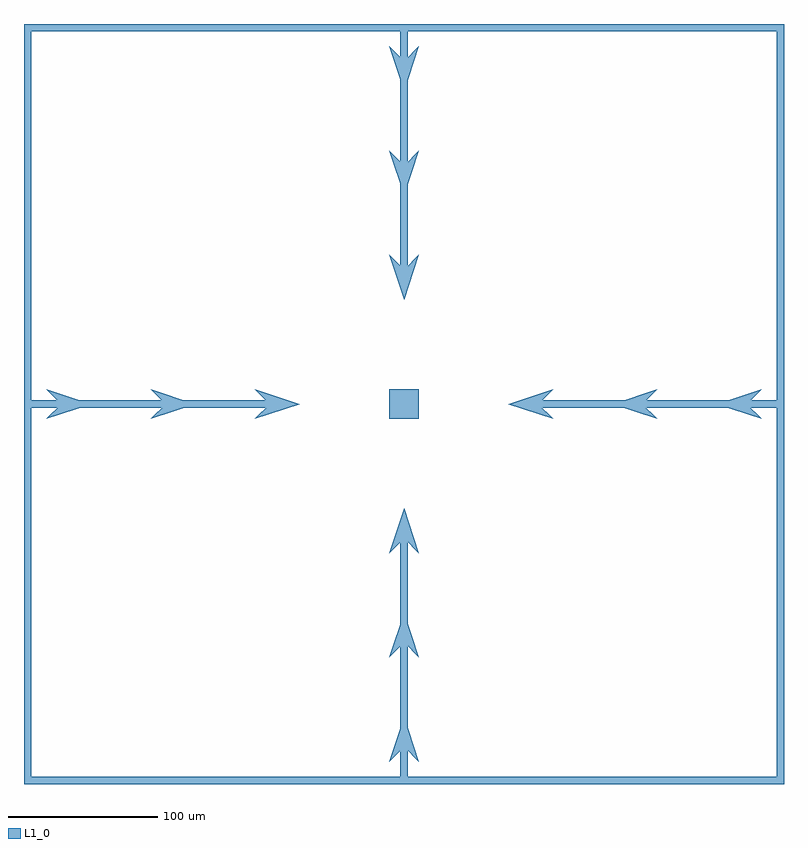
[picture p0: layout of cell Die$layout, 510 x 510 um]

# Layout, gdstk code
from math import pi, radians
import gdstk
lib = gdstk.Library(unit=1e-6, precision=1e-09)
def R(c, l, rs):  # rectangles x0, y0, x1, y1
    for r in rs: c.add(gdstk.rectangle(r[:2], r[2:], *l))
def P(c, l, *ps):  # polygons
    for p in ps: c.add(gdstk.Polygon(p, *l))
L1_0 = (1, 0)

connect = lib.new_cell('Connect')

cap_layout = lib.new_cell('Cap$layout')

die_layout = lib.new_cell('Die$layout')
R(die_layout, L1_0, [(2497.5,2250,2502.5,2420), (2490,2490,2510,2510), (2250,2497.5,2420,2502.5), (2580,2497.5,2750,2502.5), (2497.5,2580,2502.5,2750)])
P(die_layout, L1_0, [(2400,2490),(2410,2500),(2400,2510),(2430,2500)],
  [(2330,2490),(2340,2500),(2330,2510),(2360,2500)],
  [(2500,2570),(2490,2600),(2500,2590),(2510,2600)],
  [(2500,2640),(2490,2670),(2500,2660),(2510,2670)],
  [(2600,2490),(2570,2500),(2600,2510),(2590,2500)],
  [(2670,2490),(2640,2500),(2670,2510),(2660,2500)],
  [(2490,2400),(2500,2430),(2510,2400),(2500,2410)],
  [(2490,2330),(2500,2360),(2510,2330),(2500,2340)],
  [(2260,2490),(2270,2500),(2260,2510),(2290,2500)],
  [(2500,2710),(2490,2740),(2500,2730),(2510,2740)],
  [(2490,2260),(2500,2290),(2510,2260),(2500,2270)],
  [(2740,2490),(2710,2500),(2740,2510),(2730,2500)],
  [(2245,2245),(2245,2750),(2250,2750),(2250,2250),(2750,2250),(2750,2750),(2245,2750),(2245,2755),(2755,2755),(2755,2245)])
die_layout.add(gdstk.Reference(connect, (-1450,1450)))
die_layout.add(gdstk.Reference(connect, (1450,1450), rotation=pi, x_reflection=True))
die_layout.add(gdstk.Reference(connect, (-1450,-1450), x_reflection=True))
die_layout.add(gdstk.Reference(connect, (1450,-1450), rotation=pi))
die_layout.add(gdstk.Reference(cap_layout, (-600,600)))
die_layout.add(gdstk.Reference(cap_layout, (0,600)))
die_layout.add(gdstk.Reference(cap_layout, (600,600)))
die_layout.add(gdstk.Reference(cap_layout, (600,0)))
die_layout.add(gdstk.Reference(cap_layout, (600,-600)))
die_layout.add(gdstk.Reference(cap_layout, (0,-600)))
die_layout.add(gdstk.Reference(cap_layout, (-600,-600)))
die_layout.add(gdstk.Reference(cap_layout, (-600,0)))
die_layout.add(gdstk.Reference(cap_layout, (0,0)))
die_layout.add(gdstk.Reference(cap_layout, (-1400,0)))
die_layout.add(gdstk.Reference(cap_layout, (1400,0)))
die_layout.add(gdstk.Reference(cap_layout, (-1400,0), rotation=pi, x_reflection=True))
die_layout.add(gdstk.Reference(cap_layout, (1400,0), rotation=pi, x_reflection=True))
die_layout.add(gdstk.Reference(cap_layout, (0,-1400), rotation=radians(225), x_reflection=True))
die_layout.add(gdstk.Reference(cap_layout, (0,1400), rotation=radians(225), x_reflection=True))
die_layout.add(gdstk.Reference(cap_layout, (0,-1400), rotation=radians(45)))
die_layout.add(gdstk.Reference(cap_layout, (0,1400), rotation=radians(45)))

lib.write_gds('Die_layout.gds')
